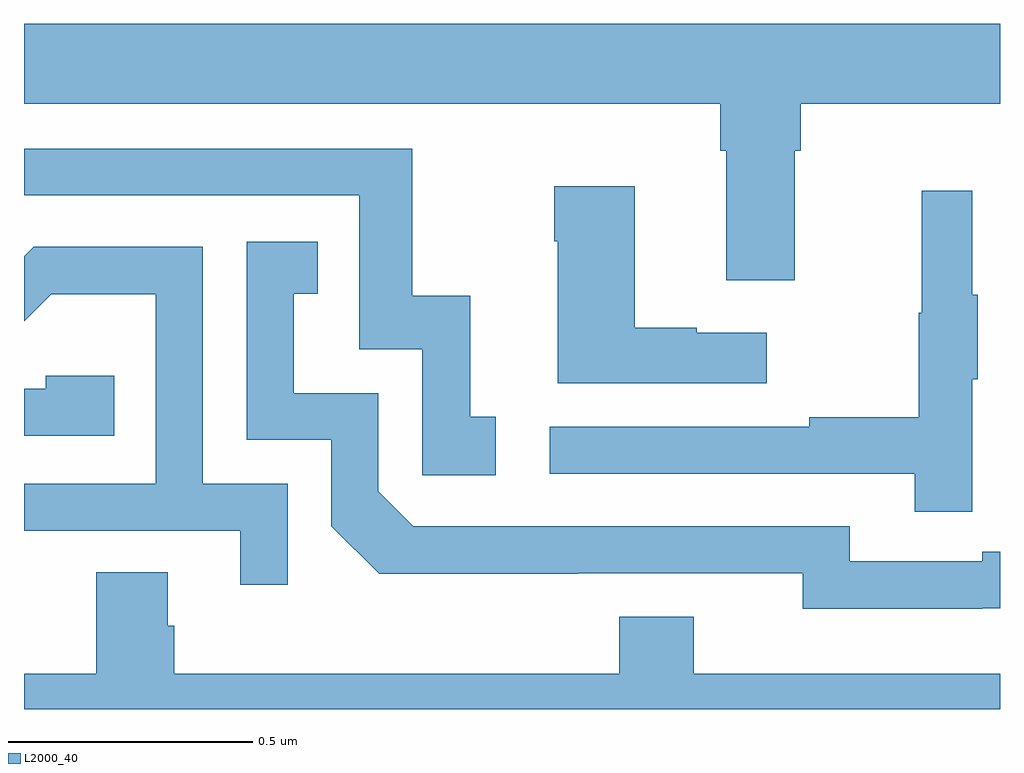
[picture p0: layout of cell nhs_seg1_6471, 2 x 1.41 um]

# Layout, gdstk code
import gdstk
lib = gdstk.Library(unit=1e-6, precision=1e-09)
def P(c, l, *ps):  # polygons
    for p in ps: c.add(gdstk.Polygon(p, *l))
L2000_40 = (2000, 40)

nhs_seg1_6471 = lib.new_cell('nhs_seg1_6471')
P(nhs_seg1_6471, L2000_40, [(193.579,510.344),(193.592,510.344),(193.592,510.44),(194,510.44),(194,510.604),(192,510.604),(192,510.44),(193.427,510.44),(193.427,510.344),(193.439,510.344),(193.439,510.078),(193.579,510.078)],
  [(192.967,509.799),(192.914,509.799),(192.914,510.046),(192.796,510.046),(192.796,510.348),(192,510.348),(192,510.252),(192.687,510.252),(192.687,509.937),(192.816,509.937),(192.816,509.679),(192.967,509.679)],
  [(193.522,509.971),(193.379,509.971),(193.379,509.981),(193.252,509.981),(193.252,510.271),(193.087,510.271),(193.087,510.158),(193.094,510.158),(193.094,509.867),(193.522,509.867)],
  [(193.943,509.875),(193.954,509.875),(193.954,510.049),(193.943,510.049),(193.943,510.262),(193.84,510.262),(193.84,510.012),(193.833,510.012),(193.833,509.798),(193.609,509.798),(193.609,509.778),(193.077,509.778),(193.077,509.682),(193.825,509.682),(193.825,509.604),(193.943,509.604)],
  [(193.964,509.406),(194,509.406),(194,509.522),(193.964,509.522),(193.964,509.502),(193.692,509.502),(193.692,509.574),(192.798,509.574),(192.726,509.646),(192.726,509.847),(192.553,509.847),(192.553,510.051),(192.602,510.051),(192.602,510.157),(192.456,510.157),(192.456,509.751),(192.63,509.751),(192.63,509.574),(192.728,509.477),(193.136,509.477),(193.136,509.478),(193.596,509.478),(193.596,509.405),(193.964,509.405)],
  [(192.54,509.661),(192.366,509.661),(192.366,510.147),(192.02,510.147),(192,510.127),(192,509.994),(192.056,510.05),(192.27,510.05),(192.27,509.661),(192,509.661),(192,509.565),(192.443,509.565),(192.443,509.454),(192.54,509.454)],
  [(192.185,509.883),(192.045,509.883),(192.045,509.856),(192,509.856),(192,509.76),(192.185,509.76)],
  [(194,509.272),(193.372,509.272),(193.372,509.389),(193.22,509.389),(193.22,509.272),(192.308,509.272),(192.308,509.37),(192.295,509.37),(192.295,509.48),(192.148,509.48),(192.148,509.272),(192,509.272),(192,509.199),(194,509.199)])

lib.write_gds('nhs_seg1_6471.gds')
